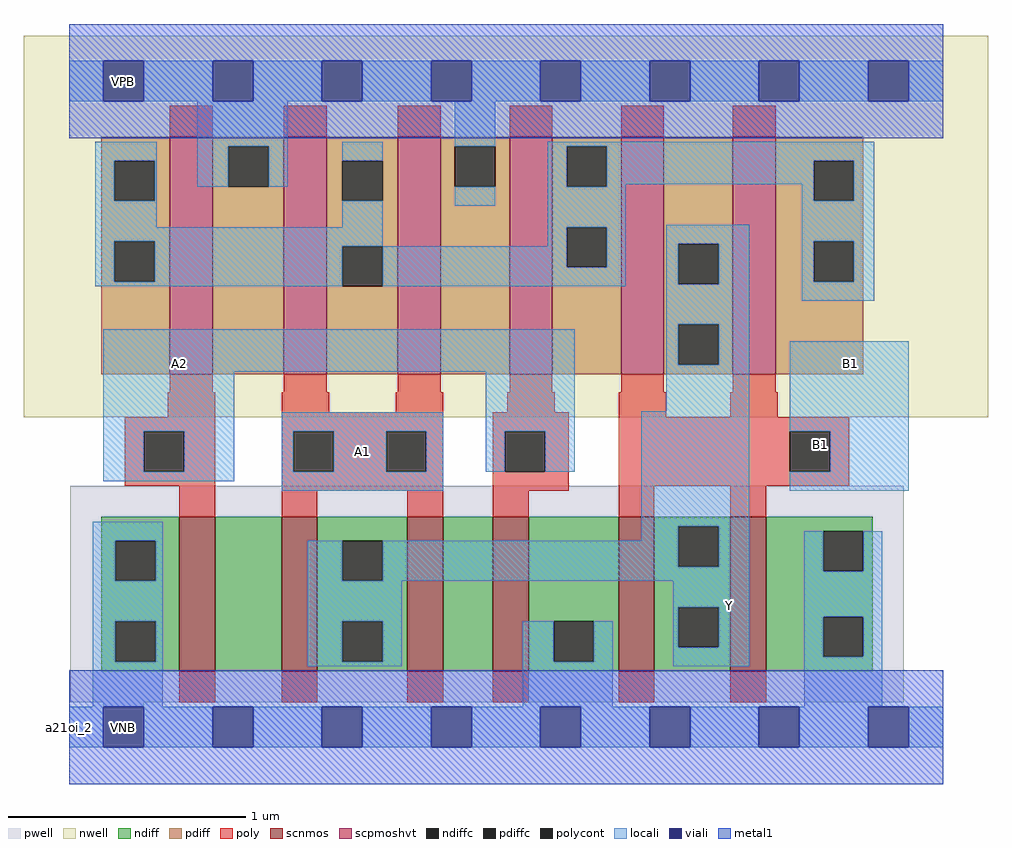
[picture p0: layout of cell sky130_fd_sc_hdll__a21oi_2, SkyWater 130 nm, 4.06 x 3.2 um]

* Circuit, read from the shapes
.subckt sky130_fd_sc_hdll__a21oi_2 A1 A2 B1 VGND VNB VPB VPWR Y
XM1 n1 A2 VGND VNB sky130_fd_pr__nfet_01v8 w=0.65 l=0.15
XM2 Y A1 n1 VNB sky130_fd_pr__nfet_01v8 w=0.65 l=0.15
XM3 n2 A1 Y VNB sky130_fd_pr__nfet_01v8 w=0.65 l=0.15
XM4 VGND A2 n2 VNB sky130_fd_pr__nfet_01v8 w=0.65 l=0.15
XM5 Y B1 VGND VNB sky130_fd_pr__nfet_01v8 w=0.65 l=0.15 m=2
XM6 VPWR A2 n3 VPB sky130_fd_pr__pfet_01v8_hvt w=1 l=0.18 m=2
XM7 n3 A1 VPWR VPB sky130_fd_pr__pfet_01v8_hvt w=1 l=0.18 m=2
XM8 Y B1 n3 VPB sky130_fd_pr__pfet_01v8_hvt w=1 l=0.18 m=2
.ends

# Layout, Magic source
magic
tech sky130A
magscale 1 2
<< nwell >>
rect -38 261 774 582
<< pwell >>
rect 1 21 703 203
rect 29 -17 63 21
<< scnmos >>
rect 93 47 123 177
rect 179 47 209 177
rect 285 47 315 177
rect 357 47 387 177
rect 463 47 493 177
rect 557 47 587 177
<< scpmoshvt >>
rect 85 297 121 497
rect 181 297 217 497
rect 277 297 313 497
rect 371 297 407 497
rect 465 297 501 497
rect 559 297 595 497
<< ndiff >>
rect 27 157 93 177
rect 27 123 39 157
rect 73 123 93 157
rect 27 89 93 123
rect 27 55 39 89
rect 73 55 93 89
rect 27 47 93 55
rect 123 47 179 177
rect 209 157 285 177
rect 209 123 230 157
rect 264 123 285 157
rect 209 89 285 123
rect 209 55 230 89
rect 264 55 285 89
rect 209 47 285 55
rect 315 47 357 177
rect 387 89 463 177
rect 387 55 408 89
rect 442 55 463 89
rect 387 47 463 55
rect 493 169 557 177
rect 493 135 513 169
rect 547 135 557 169
rect 493 101 557 135
rect 493 67 513 101
rect 547 67 557 101
rect 493 47 557 67
rect 587 165 677 177
rect 587 131 635 165
rect 669 131 677 165
rect 587 93 677 131
rect 587 59 635 93
rect 669 59 677 93
rect 587 47 677 59
<< pdiff >>
rect 27 477 85 497
rect 27 443 38 477
rect 72 443 85 477
rect 27 409 85 443
rect 27 375 38 409
rect 72 375 85 409
rect 27 297 85 375
rect 121 489 181 497
rect 121 455 134 489
rect 168 455 181 489
rect 121 297 181 455
rect 217 477 277 497
rect 217 443 230 477
rect 264 443 277 477
rect 217 405 277 443
rect 217 371 230 405
rect 264 371 277 405
rect 217 297 277 371
rect 313 489 371 497
rect 313 455 325 489
rect 359 455 371 489
rect 313 297 371 455
rect 407 489 465 497
rect 407 455 419 489
rect 453 455 465 489
rect 407 421 465 455
rect 407 387 419 421
rect 453 387 465 421
rect 407 297 465 387
rect 501 407 559 497
rect 501 373 513 407
rect 547 373 559 407
rect 501 339 559 373
rect 501 305 513 339
rect 547 305 559 339
rect 501 297 559 305
rect 595 477 669 497
rect 595 443 627 477
rect 661 443 669 477
rect 595 409 669 443
rect 595 375 627 409
rect 661 375 669 409
rect 595 297 669 375
<< ndiffc >>
rect 39 123 73 157
rect 39 55 73 89
rect 230 123 264 157
rect 230 55 264 89
rect 408 55 442 89
rect 513 135 547 169
rect 513 67 547 101
rect 635 131 669 165
rect 635 59 669 93
<< pdiffc >>
rect 38 443 72 477
rect 38 375 72 409
rect 134 455 168 489
rect 230 443 264 477
rect 230 371 264 405
rect 325 455 359 489
rect 419 455 453 489
rect 419 387 453 421
rect 513 373 547 407
rect 513 305 547 339
rect 627 443 661 477
rect 627 375 661 409
<< poly >>
rect 85 497 121 523
rect 181 497 217 523
rect 277 497 313 523
rect 371 497 407 523
rect 465 497 501 523
rect 559 497 595 523
rect 85 282 121 297
rect 181 282 217 297
rect 277 282 313 297
rect 371 282 407 297
rect 465 282 501 297
rect 559 282 595 297
rect 83 261 123 282
rect 47 249 123 261
rect 47 215 63 249
rect 97 215 123 249
rect 47 203 123 215
rect 93 177 123 203
rect 179 265 219 282
rect 275 265 315 282
rect 369 265 409 282
rect 179 249 315 265
rect 179 215 189 249
rect 223 215 267 249
rect 301 215 315 249
rect 179 199 315 215
rect 179 177 209 199
rect 285 177 315 199
rect 357 249 421 265
rect 357 215 367 249
rect 401 215 421 249
rect 357 199 421 215
rect 463 261 503 282
rect 557 261 597 282
rect 463 249 657 261
rect 463 215 607 249
rect 641 215 657 249
rect 463 203 657 215
rect 357 177 387 199
rect 463 177 493 203
rect 557 177 587 203
rect 93 21 123 47
rect 179 21 209 47
rect 285 21 315 47
rect 357 21 387 47
rect 463 21 493 47
rect 557 21 587 47
<< polycont >>
rect 63 215 97 249
rect 189 215 223 249
rect 267 215 301 249
rect 367 215 401 249
rect 607 215 641 249
<< locali >>
rect 0 527 29 561
rect 63 527 121 561
rect 155 527 213 561
rect 247 527 305 561
rect 339 527 397 561
rect 431 527 489 561
rect 523 527 581 561
rect 615 527 673 561
rect 707 527 736 561
rect 22 477 74 493
rect 22 443 38 477
rect 72 443 74 477
rect 108 489 184 527
rect 108 455 134 489
rect 168 455 184 489
rect 230 477 264 493
rect 22 421 74 443
rect 230 421 264 443
rect 325 489 359 527
rect 325 439 359 455
rect 403 489 678 493
rect 403 455 419 489
rect 453 477 678 489
rect 453 457 627 477
rect 453 455 469 457
rect 22 409 264 421
rect 22 375 38 409
rect 72 405 264 409
rect 403 421 469 455
rect 617 443 627 457
rect 661 443 678 477
rect 403 405 419 421
rect 72 375 230 405
rect 22 371 230 375
rect 264 387 419 405
rect 453 387 469 421
rect 264 371 469 387
rect 503 407 573 423
rect 503 373 513 407
rect 547 373 573 407
rect 503 339 573 373
rect 617 409 678 443
rect 617 375 627 409
rect 661 375 678 409
rect 617 359 678 375
rect 29 299 426 335
rect 29 249 139 299
rect 29 215 63 249
rect 97 215 139 249
rect 29 207 139 215
rect 179 249 315 265
rect 179 215 189 249
rect 223 215 267 249
rect 301 215 315 249
rect 351 249 426 299
rect 503 305 513 339
rect 547 305 573 339
rect 503 266 573 305
rect 351 215 367 249
rect 401 215 426 249
rect 179 199 315 215
rect 20 157 79 173
rect 482 169 573 266
rect 607 249 707 325
rect 641 215 707 249
rect 607 199 707 215
rect 482 157 513 169
rect 20 123 39 157
rect 73 123 79 157
rect 20 89 79 123
rect 20 55 39 89
rect 73 55 79 89
rect 20 17 79 55
rect 201 123 230 157
rect 264 135 513 157
rect 547 135 573 169
rect 264 123 573 135
rect 201 89 280 123
rect 509 101 573 123
rect 201 55 230 89
rect 264 55 280 89
rect 201 51 280 55
rect 382 55 408 89
rect 442 55 458 89
rect 382 17 458 55
rect 509 67 513 101
rect 547 67 573 101
rect 509 51 573 67
rect 619 131 635 165
rect 669 131 685 165
rect 619 93 685 131
rect 619 59 635 93
rect 669 59 685 93
rect 619 17 685 59
rect 0 -17 29 17
rect 63 -17 121 17
rect 155 -17 213 17
rect 247 -17 305 17
rect 339 -17 397 17
rect 431 -17 489 17
rect 523 -17 581 17
rect 615 -17 673 17
rect 707 -17 736 17
<< viali >>
rect 29 527 63 561
rect 121 527 155 561
rect 213 527 247 561
rect 305 527 339 561
rect 397 527 431 561
rect 489 527 523 561
rect 581 527 615 561
rect 673 527 707 561
rect 29 -17 63 17
rect 121 -17 155 17
rect 213 -17 247 17
rect 305 -17 339 17
rect 397 -17 431 17
rect 489 -17 523 17
rect 581 -17 615 17
rect 673 -17 707 17
<< metal1 >>
rect 0 561 736 592
rect 0 527 29 561
rect 63 527 121 561
rect 155 527 213 561
rect 247 527 305 561
rect 339 527 397 561
rect 431 527 489 561
rect 523 527 581 561
rect 615 527 673 561
rect 707 527 736 561
rect 0 496 736 527
rect 0 17 736 48
rect 0 -17 29 17
rect 63 -17 121 17
rect 155 -17 213 17
rect 247 -17 305 17
rect 339 -17 397 17
rect 431 -17 489 17
rect 523 -17 581 17
rect 615 -17 673 17
rect 707 -17 736 17
rect 0 -48 736 -17
<< labels >>
flabel locali s 616 221 650 255 0 FreeSans 340 0 0 0 B1
port 3 nsew signal input
flabel locali s 641 289 675 323 0 FreeSans 340 0 0 0 B1
port 3 nsew signal input
flabel locali s 76 289 110 323 0 FreeSans 340 180 0 0 A2
port 2 nsew signal input
flabel locali s 179 199 315 265 0 FreeSans 340 180 0 0 A1
port 1 nsew signal input
flabel locali s 539 85 573 119 0 FreeSans 340 180 0 0 Y
port 8 nsew signal output
flabel pwell s 29 -17 63 17 0 FreeSans 200 0 0 0 VNB
port 5 nsew ground bidirectional
flabel nwell s 29 527 63 561 0 FreeSans 200 0 0 0 VPB
port 6 nsew power bidirectional
flabel metal1 s 29 -17 63 17 0 FreeSans 200 0 0 0 VGND
port 4 nsew ground bidirectional
flabel metal1 s 29 527 63 561 0 FreeSans 200 0 0 0 VPWR
port 7 nsew power bidirectional
rlabel comment s 0 0 0 0 4 a21oi_2
<< properties >>
string LEFsite unithd
string LEFclass CORE
string FIXED_BBOX 0 0 736 544
string GDS_FILE $PDKPATH/libs.ref/sky130_fd_sc_hdll/gds/sky130_fd_sc_hdll.gds
string LEFsymmetry X Y R90
string GDS_END 1646804
string GDS_START 1640668
string LEFproperties maskLayoutSubType "abstract" prCellType "standard" originalViewName "layout"
<< end >>
